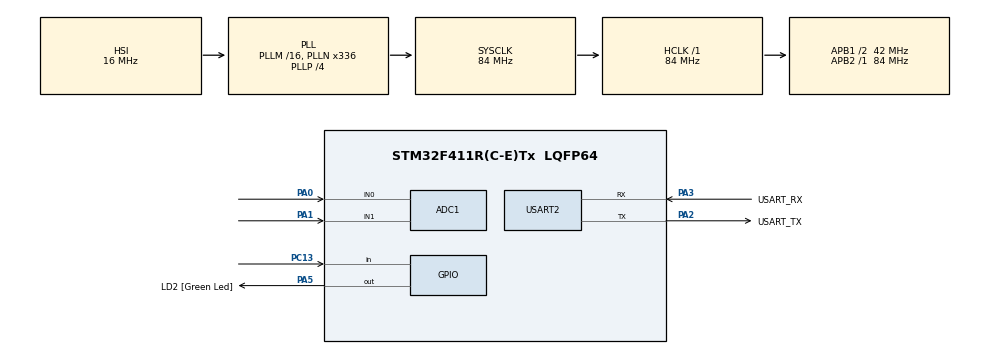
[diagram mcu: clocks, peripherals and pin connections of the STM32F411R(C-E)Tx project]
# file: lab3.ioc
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ADC1.Channel-0\#ChannelRegularConversion=ADC_CHANNEL_0
ADC1.NbrOfConversionFlag=1
ADC1.Rank-0\#ChannelRegularConversion=1
ADC1.SamplingTime-0\#ChannelRegularConversion=ADC_SAMPLETIME_3CYCLES
ADC1.master=1
Mcu.Family=STM32F4
Mcu.Name=STM32F411R(C-E)Tx
Mcu.Package=LQFP64
NVIC.PriorityGroup=NVIC_PRIORITYGROUP_0
PA0-WKUP.Signal=ADCx_IN0
PA1.Signal=ADCx_IN1
PA13.GPIO_Label=TMS
PA13.Mode=Serial_Wire
PA13.Signal=SYS_JTMS-SWDIO
PA14.GPIO_Label=TCK
PA14.Mode=Serial_Wire
PA14.Signal=SYS_JTCK-SWCLK
PA2.GPIO_Label=USART_TX
PA2.Mode=Asynchronous
PA2.Signal=USART2_TX
PA3.GPIO_Label=USART_RX
PA3.Mode=Asynchronous
PA3.Signal=USART2_RX
PA5.GPIO_Label=LD2 [Green Led]
PA5.Signal=GPIO_Output
PB3.GPIO_Label=SWO
PB3.Signal=SYS_JTDO-SWO
PC13-ANTI_TAMP.Signal=GPIO_Input
PC14-OSC32_IN.Mode=LSE-External-Oscillator
PC14-OSC32_IN.Signal=RCC_OSC32_IN
PC15-OSC32_OUT.Mode=LSE-External-Oscillator
PC15-OSC32_OUT.Signal=RCC_OSC32_OUT
PH0\ -\ OSC_IN.Mode=HSE-External-Clock-Source
PH0\ -\ OSC_IN.Signal=RCC_OSC_IN
PH1\ -\ OSC_OUT.Mode=HSE-External-Clock-Source
PH1\ -\ OSC_OUT.Signal=RCC_OSC_OUT
ProjectManager.HeapSize=0x200
ProjectManager.StackSize=0x400
ProjectManager.TargetToolchain=STM32CubeIDE
RCC.48MHZClocksFreq_Value=84000000
RCC.AHBFreq_Value=84000000
RCC.APB1CLKDivider=RCC_HCLK_DIV2
RCC.APB1Freq_Value=42000000
RCC.APB1TimFreq_Value=84000000
RCC.APB2Freq_Value=84000000
RCC.APB2TimFreq_Value=84000000
RCC.CortexFreq_Value=84000000
RCC.FLatency-AdvancedSettings=FLASH_LATENCY_2
RCC.HCLKFreq_Value=84000000
RCC.HSE_VALUE=8000000
RCC.HSI_VALUE=16000000
RCC.PLLN=336
RCC.PLLP=RCC_PLLP_DIV4
RCC.SYSCLKFreq_VALUE=84000000
RCC.SYSCLKSource=RCC_SYSCLKSOURCE_PLLCLK
RCC.VCOOutputFreq_Value=336000000
SH.ADCx_IN0.0=ADC1_IN0,IN0
SH.ADCx_IN1.0=ADC1_IN1,IN1
USART2.VirtualMode=VM_ASYNC
VP_ADC1_TempSens_Input.Mode=IN-TempSens
board=NUCLEO-F411RE

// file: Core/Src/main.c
/* USER CODE BEGIN Header */
/**
 ******************************************************************************
 * @file           : main.c
 * @brief          : Main program body
 ******************************************************************************
 * @attention
 *
 * <h2><center>&copy; Copyright (c) 2021 STMicroelectronics.
 * All rights reserved.</center></h2>
 *
 * This software component is licensed by ST under BSD 3-Clause license,
 * the "License"; You may not use this file except in compliance with the
 * License. You may obtain a copy of the License at:
 *                        opensource.org/licenses/BSD-3-Clause
 *
 ******************************************************************************
 */
/* USER CODE END Header */
#include "main.h"

ADC_HandleTypeDef hadc1;

UART_HandleTypeDef huart2;

/* USER CODE BEGIN PV */
uint16_t adcdata[2] = { 0 };
float ADCOutputConverted = 0;
float temp =0;
uint8_t ADCMode = 0;

typedef struct {
	ADC_ChannelConfTypeDef Config;
	uint16_t data;
} ADCStructure;

ADCStructure ADCChannel[2] = { 0 };
GPIO_PinState mode[2] ;
/* USER CODE END PV */

void SystemClock_Config(void);
static void MX_GPIO_Init(void);
static void MX_USART2_UART_Init(void);
static void MX_ADC1_Init(void);
/* USER CODE BEGIN PFP */
void ADCPollingMethodInit();
void ADCPollingMethodUpdate();
/* USER CODE END PFP */

/* USER CODE BEGIN 0 */
#define AVG_SLOPE 2.5e-3
#define V25 0.76
#define VSENSE 3.3/4096
/* USER CODE END 0 */

int main(void)
{

  /* MCU Configuration--------------------------------------------------------*/

  /* Reset of all peripherals, Initializes the Flash interface and the Systick. */
  HAL_Init();

  /* Configure the system clock */
  SystemClock_Config();

  /* Initialize all configured peripherals */
  MX_GPIO_Init();
  MX_USART2_UART_Init();
  MX_ADC1_Init();
  /* USER CODE BEGIN 2 */
	ADCPollingMethodInit();

  /* USER CODE END 2 */

  /* Infinite loop */
	while (1) {

    /* USER CODE BEGIN 3 */

		ADCPollingMethodUpdate();
		mode[0] = HAL_GPIO_ReadPin(GPIOC, GPIO_PIN_13);
		if(mode[0] == 1 && mode[1]==0)
		{
			ADCOutputConverted = 0;
			if(ADCMode == 0)
			{
				ADCMode = 1;
			}
			else
			{
				ADCMode = 0;
			}
		}
		if(ADCMode == 0)
		{
			ADCOutputConverted = 8.05664e-1*ADCChannel[0].data;
		}
		else
		{
			temp = ((VSENSE*ADCChannel[1].data - V25)/AVG_SLOPE)+25;
			ADCOutputConverted = temp;
		}
		mode[1] = mode[0];
	}
  /* USER CODE END 3 */
}

void SystemClock_Config(void)
{
  RCC_OscInitTypeDef RCC_OscInitStruct = {0};
  RCC_ClkInitTypeDef RCC_ClkInitStruct = {0};

  /** Configure the main internal regulator output voltage
  */
  __HAL_RCC_PWR_CLK_ENABLE();
  __HAL_PWR_VOLTAGESCALING_CONFIG(PWR_REGULATOR_VOLTAGE_SCALE1);
  /** Initializes the RCC Oscillators according to the specified parameters
  * in the RCC_OscInitTypeDef structure.
  */
  RCC_OscInitStruct.OscillatorType = RCC_OSCILLATORTYPE_HSI;
  RCC_OscInitStruct.HSIState = RCC_HSI_ON;
  RCC_OscInitStruct.HSICalibrationValue = RCC_HSICALIBRATION_DEFAULT;
  RCC_OscInitStruct.PLL.PLLState = RCC_PLL_ON;
  RCC_OscInitStruct.PLL.PLLSource = RCC_PLLSOURCE_HSI;
  RCC_OscInitStruct.PLL.PLLM = 16;
  RCC_OscInitStruct.PLL.PLLN = 336;
  RCC_OscInitStruct.PLL.PLLP = RCC_PLLP_DIV4;
  RCC_OscInitStruct.PLL.PLLQ = 4;
  if (HAL_RCC_OscConfig(&RCC_OscInitStruct) != HAL_OK)
  {
    Error_Handler();
  }
  /** Initializes the CPU, AHB and APB buses clocks
  */
  RCC_ClkInitStruct.ClockType = RCC_CLOCKTYPE_HCLK|RCC_CLOCKTYPE_SYSCLK
                              |RCC_CLOCKTYPE_PCLK1|RCC_CLOCKTYPE_PCLK2;
  RCC_ClkInitStruct.SYSCLKSource = RCC_SYSCLKSOURCE_PLLCLK;
  RCC_ClkInitStruct.AHBCLKDivider = RCC_SYSCLK_DIV1;
  RCC_ClkInitStruct.APB1CLKDivider = RCC_HCLK_DIV2;
  RCC_ClkInitStruct.APB2CLKDivider = RCC_HCLK_DIV1;

  if (HAL_RCC_ClockConfig(&RCC_ClkInitStruct, FLASH_LATENCY_2) != HAL_OK)
  {
    Error_Handler();
  }
}

static void MX_ADC1_Init(void)
{

  ADC_ChannelConfTypeDef sConfig = {0};

  /** Configure the global features of the ADC (Clock, Resolution, Data Alignment and number of conversion)
  */
  hadc1.Instance = ADC1;
  hadc1.Init.ClockPrescaler = ADC_CLOCK_SYNC_PCLK_DIV4;
  hadc1.Init.Resolution = ADC_RESOLUTION_12B;
  hadc1.Init.ScanConvMode = DISABLE;
  hadc1.Init.ContinuousConvMode = DISABLE;
  hadc1.Init.DiscontinuousConvMode = DISABLE;
  hadc1.Init.ExternalTrigConvEdge = ADC_EXTERNALTRIGCONVEDGE_NONE;
  hadc1.Init.ExternalTrigConv = ADC_SOFTWARE_START;
  hadc1.Init.DataAlign = ADC_DATAALIGN_RIGHT;
  hadc1.Init.NbrOfConversion = 1;
  hadc1.Init.DMAContinuousRequests = DISABLE;
  hadc1.Init.EOCSelection = ADC_EOC_SINGLE_CONV;
  if (HAL_ADC_Init(&hadc1) != HAL_OK)
  {
    Error_Handler();
  }
  /** Configure for the selected ADC regular channel its corresponding rank in the sequencer and its sample time.
  */
  sConfig.Channel = ADC_CHANNEL_0;
  sConfig.Rank = 1;
  sConfig.SamplingTime = ADC_SAMPLETIME_3CYCLES;
  if (HAL_ADC_ConfigChannel(&hadc1, &sConfig) != HAL_OK)
  {
    Error_Handler();
  }

}

static void MX_USART2_UART_Init(void)
{

  huart2.Instance = USART2;
  huart2.Init.BaudRate = 115200;
  huart2.Init.WordLength = UART_WORDLENGTH_8B;
  huart2.Init.StopBits = UART_STOPBITS_1;
  huart2.Init.Parity = UART_PARITY_NONE;
  huart2.Init.Mode = UART_MODE_TX_RX;
  huart2.Init.HwFlowCtl = UART_HWCONTROL_NONE;
  huart2.Init.OverSampling = UART_OVERSAMPLING_16;
  if (HAL_UART_Init(&huart2) != HAL_OK)
  {
    Error_Handler();
  }

}

static void MX_GPIO_Init(void)
{
  GPIO_InitTypeDef GPIO_InitStruct = {0};

  /* GPIO Ports Clock Enable */
  __HAL_RCC_GPIOC_CLK_ENABLE();
  __HAL_RCC_GPIOH_CLK_ENABLE();
  __HAL_RCC_GPIOA_CLK_ENABLE();
  __HAL_RCC_GPIOB_CLK_ENABLE();

  /*Configure GPIO pin Output Level */
  HAL_GPIO_WritePin(LD2_GPIO_Port, LD2_Pin, GPIO_PIN_RESET);

  /*Configure GPIO pin : PC13 */
  GPIO_InitStruct.Pin = GPIO_PIN_13;
  GPIO_InitStruct.Mode = GPIO_MODE_INPUT;
  GPIO_InitStruct.Pull = GPIO_NOPULL;
  HAL_GPIO_Init(GPIOC, &GPIO_InitStruct);

  /*Configure GPIO pin : LD2_Pin */
  GPIO_InitStruct.Pin = LD2_Pin;
  GPIO_InitStruct.Mode = GPIO_MODE_OUTPUT_PP;
  GPIO_InitStruct.Pull = GPIO_NOPULL;
  GPIO_InitStruct.Speed = GPIO_SPEED_FREQ_LOW;
  HAL_GPIO_Init(LD2_GPIO_Port, &GPIO_InitStruct);

}

/* USER CODE BEGIN 4 */
void ADCPollingMethodInit() {
	//config all ADC Channel
	ADCChannel[0].Config.Channel = ADC_CHANNEL_0;
	ADCChannel[0].Config.Rank = 1;
	ADCChannel[0].Config.SamplingTime = ADC_SAMPLETIME_3CYCLES;

//	ADCChannel[1].Config.Channel = ADC_CHANNEL_1;
//	ADCChannel[1].Config.Rank = 1;
//	ADCChannel[1].Config.SamplingTime = ADC_SAMPLETIME_3CYCLES;

	ADCChannel[1].Config.Channel = ADC_CHANNEL_TEMPSENSOR;
	ADCChannel[1].Config.Rank = 1;
	ADCChannel[1].Config.SamplingTime = ADC_SAMPLETIME_3CYCLES;
}
//Polling Method
void ADCPollingMethodUpdate() {
	//Read all 3 Channel
	for (int i = 0; i < 2; i++) {
		HAL_ADC_ConfigChannel(&hadc1, &ADCChannel[i].Config);
		HAL_ADC_Start(&hadc1);
		if( HAL_ADC_PollForConversion(&hadc1, 10) == HAL_OK )
		{
			ADCChannel[i].data = HAL_ADC_GetValue(&hadc1);
		}

		HAL_ADC_Stop(&hadc1);
	}
}
/* USER CODE END 4 */

void Error_Handler(void)
{
	__disable_irq();
	while (1) {
	}
}

/************************ (C) COPYRIGHT STMicroelectronics *****END OF FILE****/
